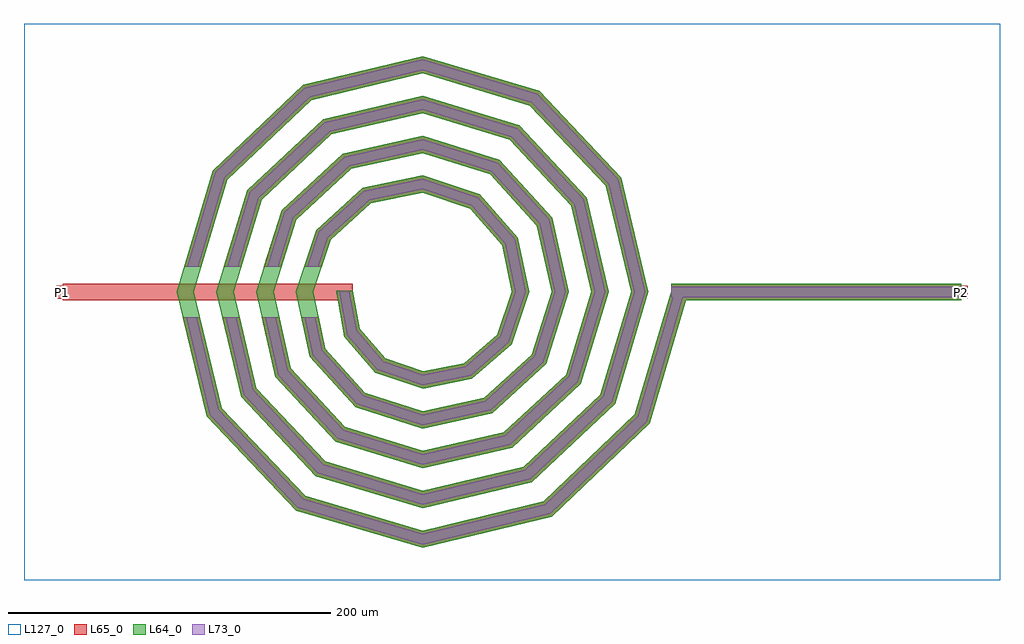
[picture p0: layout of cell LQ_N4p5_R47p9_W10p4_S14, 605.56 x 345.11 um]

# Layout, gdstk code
import gdstk
lib = gdstk.Library(unit=1e-6, precision=1e-09)
def R(c, l, rs):  # rectangles x0, y0, x1, y1
    for r in rs: c.add(gdstk.rectangle(r[:2], r[2:], *l))
def P(c, l, *ps):  # polygons
    for p in ps: c.add(gdstk.Polygon(p, *l))
L64_0 = (64, 0)
L65_0 = (65, 0)
L73_0 = (73, 0)
L127_0 = (127, 0)

lq_n4p5_r47p9_w10p4_s14 = lib.new_cell('LQ_N4p5_R47p9_W10p4_S14')
R(lq_n4p5_r47p9_w10p4_s14, L64_0, [(154.311,-5.2,334.311,5.2)])
P(lq_n4p5_r47p9_w10p4_s14, L64_0, [(-38.885,-22.922),(-23.256,-41.066),(0.378,-49.248),(25.967,-44.249),(46.387,-26.376),(55.416,0.339),(49.608,29.02),(29.489,51.712),(0.308,61.585),(-32.079,54.965),(-57.041,32.597),(-67.753,0.282),(-60.32,-35.143),(-35.702,-62.371),(0.26,-73.922),(38.209,-65.673),(67.704,-38.803),(80.092,0.242),(71.025,41.278),(41.903,73.039),(0.225,86.261),(-44.35,76.375),(-78.374,45),(-92.431,0.211),(-81.725,-47.423),(-48.097,-83.711),(0.199,-98.601),(50.497,-87.074),(89.048,-51.191),(104.77,0.187),(92.423,53.573),(54.285,94.386),(0.178,110.94),(-56.649,97.771),(-99.725,57.378),(-117.11,0.169),(-103.118,-59.727),(-60.47,-105.064),(0.161,-123.28),(62.805,-108.465),(110.403,-63.562),(129.45,0.153),(113.812,65.884),(66.653,115.743),(0.146,135.619),(-68.963,119.159),(-121.083,69.743),(-141.789,0.14),(-124.505,-72.043),(-72.833,-126.424),(0.135,-147.959),(75.123,-129.851),(131.764,-75.923),(154.523,1.467),(164.5,-1.467),(140.955,-81.532),(80.275,-139.306),(0.135,-158.723),(-78.452,-135.609),(-133.965,-77.185),(-152.553,0.14),(-130.263,75.371),(-74.095,128.625),(0.146,146.383),(72.292,124.916),(123.284,71.004),(140.213,0.153),(119.569,-69.213),(67.913,-117.944),(0.161,-134.042),(-66.134,-114.221),(-112.605,-64.821),(-127.872,0.169),(-108.874,63.056),(-61.728,107.265),(0.178,121.702),(59.979,103.525),(101.926,58.635),(115.532,0.187),(98.176,-56.903),(55.54,-96.588),(0.199,-109.361),(-53.828,-92.827),(-91.25,-52.445),(-103.191,0.211),(-87.477,50.754),(-49.348,85.913),(0.225,97.02),(47.681,82.125),(80.577,46.249),(90.849,0.242),(76.773,-44.611),(43.148,-75.242),(0.26,-84.679),(-41.542,-71.419),(-69.908,-40.045),(-78.508,0.282),(-66.063,38.477),(-36.938,64.576),(0.308,72.336),(35.415,60.705),(59.246,33.827),(66.165,0.339),(55.343,-32.358),(30.71,-53.919),(0.378,-59.992),(-29.307,-49.977),(-48.595,-27.585),(-53.562,0.953),(-43.338,0.953)])
R(lq_n4p5_r47p9_w10p4_s14, L65_0, [(-223.25,-5.2,-43.25,5.2), (154.311,-5.2,334.311,5.2), (-227.25,-4,-219.25,4), (330.311,-4,338.311,4)])
P(lq_n4p5_r47p9_w10p4_s14, L65_0, [(-124.505,-72.043),(-72.833,-126.424),(0.135,-147.959),(75.123,-129.851),(131.764,-75.923),(154.523,1.467),(164.5,-1.467),(140.955,-81.532),(80.275,-139.306),(0.135,-158.723),(-78.452,-135.609),(-133.965,-77.185),(-148.769,-15.6),(-138.073,-15.6)],
  [(-103.118,-59.727),(-60.47,-105.064),(0.161,-123.28),(62.805,-108.465),(110.403,-63.562),(129.45,0.153),(113.812,65.884),(66.653,115.743),(0.147,135.62),(-68.963,119.159),(-121.083,69.743),(-137.126,15.6),(-147.973,15.6),(-130.262,75.372),(-74.095,128.625),(0.147,146.383),(72.292,124.916),(123.284,71.004),(140.213,0.153),(119.569,-69.213),(67.913,-117.944),(0.161,-134.042),(-66.134,-114.221),(-112.605,-64.821),(-124.168,-15.6),(-113.485,-15.6)],
  [(-81.725,-47.423),(-48.097,-83.711),(0.199,-98.601),(50.497,-87.074),(89.048,-51.191),(104.77,0.188),(92.423,53.573),(54.285,94.386),(0.178,110.94),(-56.649,97.771),(-99.725,57.378),(-112.346,15.6),(-123.21,15.6),(-108.874,63.056),(-61.728,107.265),(0.178,121.702),(59.979,103.525),(101.927,58.635),(115.532,0.188),(98.176,-56.903),(55.54,-96.588),(0.199,-109.361),(-53.828,-92.827),(-91.25,-52.445),(-99.605,-15.6),(-88.941,-15.6)],
  [(-60.32,-35.143),(-35.702,-62.372),(0.26,-73.923),(38.209,-65.673),(67.704,-38.803),(80.092,0.242),(71.025,41.278),(41.903,73.039),(0.225,86.261),(-44.35,76.375),(-78.374,45),(-87.515,15.6),(-98.406,15.6),(-87.477,50.754),(-49.348,85.913),(0.225,97.02),(47.681,82.125),(80.577,46.249),(90.849,0.242),(76.773,-44.611),(43.148,-75.242),(0.26,-84.679),(-41.542,-71.419),(-69.908,-40.045),(-75.121,-15.6),(-64.487,-15.6)],
  [(-23.256,-41.066),(0.378,-49.248),(25.967,-44.249),(46.387,-26.376),(55.416,0.339),(49.608,29.02),(29.489,51.712),(0.308,61.585),(-32.079,54.965),(-57.041,32.597),(-62.579,15.6),(-73.517,15.6),(-66.063,38.477),(-36.938,64.576),(0.308,72.336),(35.415,60.705),(59.246,33.827),(66.165,0.339),(55.343,-32.358),(30.71,-53.919),(0.378,-59.992),(-29.307,-49.977),(-48.595,-27.585),(-53.562,0.953),(-43.338,0.953),(-38.885,-22.922)])
R(lq_n4p5_r47p9_w10p4_s14, L73_0, [(154.311,-3.2,334.311,3.2)])
P(lq_n4p5_r47p9_w10p4_s14, L73_0, [(-126.324,-73.032),(-73.914,-128.19),(0.083,-150.029),(76.114,-131.669),(133.532,-77.001),(156.441,0.903),(162.581,0.903),(139.188,-80.453),(79.284,-137.488),(0.083,-156.653),(-77.371,-133.843),(-132.146,-76.196),(-146.712,-15.6),(-140.13,-15.6)],
  [(-104.943,-60.706),(-61.56,-106.825),(0.099,-125.349),(63.787,-110.288),(112.166,-64.649),(131.519,0.094),(115.634,66.868),(67.737,117.507),(0.09,137.689),(-69.95,120.979),(-122.849,70.826),(-139.212,15.6),(-145.887,15.6),(-128.497,74.289),(-73.108,126.804),(0.09,144.313),(71.207,123.152),(121.463,70.019),(138.143,0.094),(117.806,-68.126),(66.931,-116.122),(0.099,-131.973),(-65.045,-112.46),(-110.78,-63.841),(-122.113,-15.6),(-115.539,-15.6)],
  [(-83.557,-48.389),(-49.199,-85.464),(0.122,-100.67),(51.467,-88.904),(90.804,-52.29),(106.84,0.115),(94.25,54.546),(55.38,96.144),(0.109,113.01),(-57.626,99.597),(-101.484,58.47),(-114.435,15.6),(-121.121,15.6),(-107.114,61.964),(-60.752,105.44),(0.109,119.632),(58.884,101.768),(100.099,57.661),(113.462,0.115),(96.421,-55.805),(54.571,-94.759),(0.122,-107.292),(-52.726,-91.074),(-89.419,-51.479),(-97.555,-15.6),(-90.992,-15.6)],
  [(-62.164,-36.085),(-36.825,-64.111),(0.16,-75.991),(39.159,-67.513),(69.448,-39.92),(82.161,0.149),(72.862,42.234),(43.014,74.786),(0.139,88.33),(-45.311,78.21),(-80.125,46.107),(-89.61,15.6),(-96.312,15.6),(-85.726,49.647),(-48.387,84.079),(0.139,94.951),(46.57,80.378),(78.74,45.293),(88.781,0.149),(75.029,-43.494),(42.198,-73.402),(0.16,-82.61),(-40.419,-69.679),(-68.064,-39.102),(-73.076,-15.6),(-66.532,-15.6)],
  [(-24.42,-42.78),(0.232,-51.314),(26.879,-46.108),(48.109,-27.526),(57.483,0.209),(51.462,29.945),(30.628,53.441),(0.19,63.652),(-33.014,56.813),(-58.776,33.728),(-64.682,15.6),(-71.413,15.6),(-64.328,37.346),(-36.003,62.728),(0.19,70.269),(34.275,58.975),(57.393,32.902),(64.098,0.209),(53.621,-31.207),(29.798,-52.059),(0.232,-57.926),(-28.144,-48.263),(-46.728,-26.688),(-51.596,0.587),(-45.304,0.587),(-40.753,-23.819)])
R(lq_n4p5_r47p9_w10p4_s14, L127_0, [(-247.25,-178.723,358.311,166.383)])
lq_n4p5_r47p9_w10p4_s14.add(gdstk.Label('P2', (334.311,0), layer=65, texttype=0))
lq_n4p5_r47p9_w10p4_s14.add(gdstk.Label('P1', (-223.25,0), layer=65, texttype=0))
lq_n4p5_r47p9_w10p4_s14.add(gdstk.Label('P2', (338.311,0), layer=145, texttype=0))
lq_n4p5_r47p9_w10p4_s14.add(gdstk.Label('P1', (-227.25,0), layer=145, texttype=0))

lib.write_gds('LQ_N4p5_R47p9_W10p4_S14.gds')
